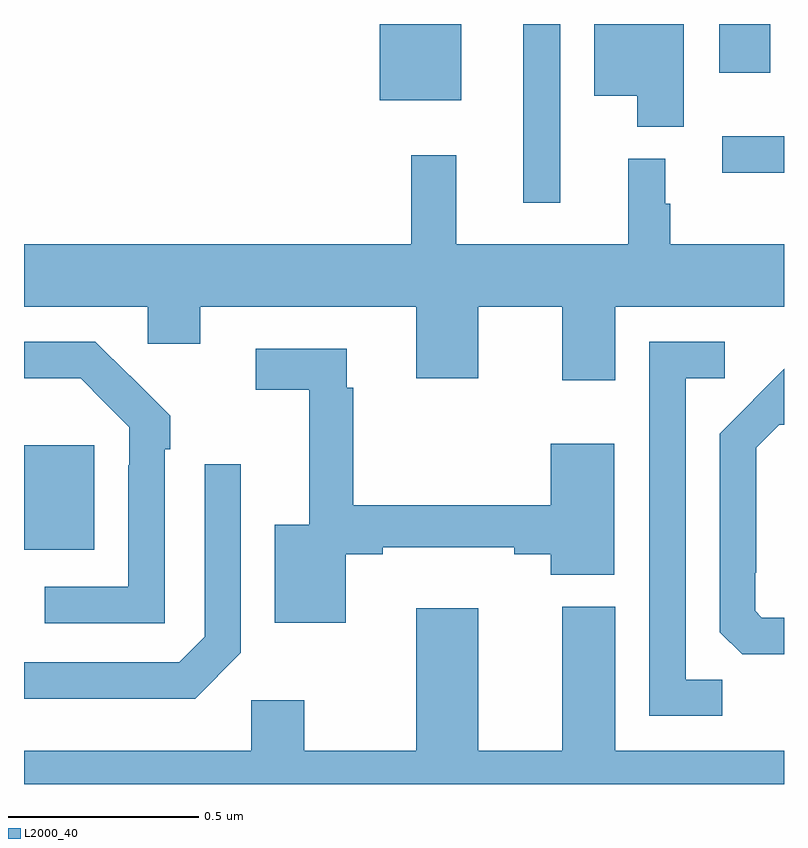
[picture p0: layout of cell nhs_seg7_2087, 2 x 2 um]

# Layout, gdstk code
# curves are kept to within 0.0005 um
import gdstk
lib = gdstk.Library(unit=1e-6, precision=1e-09)
def R(c, l, rs):  # rectangles x0, y0, x1, y1
    for r in rs: c.add(gdstk.rectangle(r[:2], r[2:], *l))
def P(c, l, *ps):  # polygons
    for p in ps: c.add(gdstk.Polygon(p, *l))
L2000_40 = (2000, 40)

nhs_seg7_2087 = lib.new_cell('nhs_seg7_2087')
R(nhs_seg7_2087, L2000_40, [(140,1026.617,140.185,1026.892), (141.314,1027.53,141.411,1028), (141.837,1027.608,142,1027.704), (140.936,1027.799,141.151,1028), (141.83,1027.872,141.964,1028)])
P(nhs_seg7_2087, L2000_40, [(141.736,1027.999),(141.5,1027.999),(141.5,1027.811),(141.614,1027.811),(141.614,1027.73),(141.736,1027.73)],
  [(141.556,1027.256),(142,1027.256),(142,1027.42),(141.7,1027.42),(141.7,1027.527),(141.688,1027.527),(141.688,1027.645),(141.59,1027.645),(141.59,1027.42),(141.137,1027.42),(141.137,1027.654),(141.019,1027.654),(141.019,1027.42),(140,1027.42),(140,1027.256),(140.325,1027.256),(140.325,1027.158),(140.464,1027.158),(140.464,1027.256),(141.032,1027.256),(141.032,1027.068),(141.196,1027.068),(141.196,1027.256),(141.416,1027.256),(141.416,1027.062),(141.556,1027.062)],
  [(141.837,1026.275),(141.741,1026.275),(141.741,1027.068),(141.844,1027.068),(141.844,1027.164),(141.645,1027.164),(141.645,1026.18),(141.837,1026.18)],
  [(140.37,1026.881),(140.385,1026.881),(140.385,1026.969),(140.28,1027.074),(140.279,1027.073),(140.188,1027.164),(140,1027.164),(140,1027.068),(140.149,1027.068),(140.277,1026.939),(140.277,1026.839),(140.274,1026.839),(140.274,1026.519),(140.055,1026.519),(140.055,1026.423),(140.37,1026.423)],
  [(140.847,1026.604),(140.944,1026.604),(140.944,1026.623),(141.29,1026.623),(141.29,1026.604),(141.386,1026.604),(141.386,1026.551),(141.553,1026.551),(141.553,1026.895),(141.386,1026.895),(141.386,1026.733),(140.867,1026.733),(140.867,1027.043),(140.849,1027.043),(140.849,1027.146),(140.61,1027.146),(140.61,1027.038),(140.75,1027.038),(140.75,1026.682),(140.66,1026.682),(140.66,1026.425),(140.847,1026.425)],
  [(142,1026.438),(141.942,1026.438),(141.924,1026.456),(141.924,1026.556),(141.927,1026.556),(141.927,1026.885),(141.987,1026.945),(142,1026.945),(142,1027.093),(141.923,1027.015),(141.914,1027.005),(141.831,1026.922),(141.831,1026.4),(141.89,1026.341),(142,1026.341)],
  [(140.571,1026.345),(140.571,1026.841),(140.475,1026.841),(140.475,1026.387),(140.409,1026.321),(140,1026.321),(140,1026.224),(140.45,1026.224)],
  [(142,1026.088),(141.556,1026.088),(141.556,1026.466),(141.416,1026.466),(141.416,1026.088),(141.196,1026.088),(141.196,1026.463),(141.032,1026.463),(141.032,1026.088),(140.737,1026.088),(140.737,1026.22),(140.598,1026.22),(140.598,1026.088),(140,1026.088),(140,1026),(142,1026)])

lib.write_gds('nhs_seg7_2087.gds')
